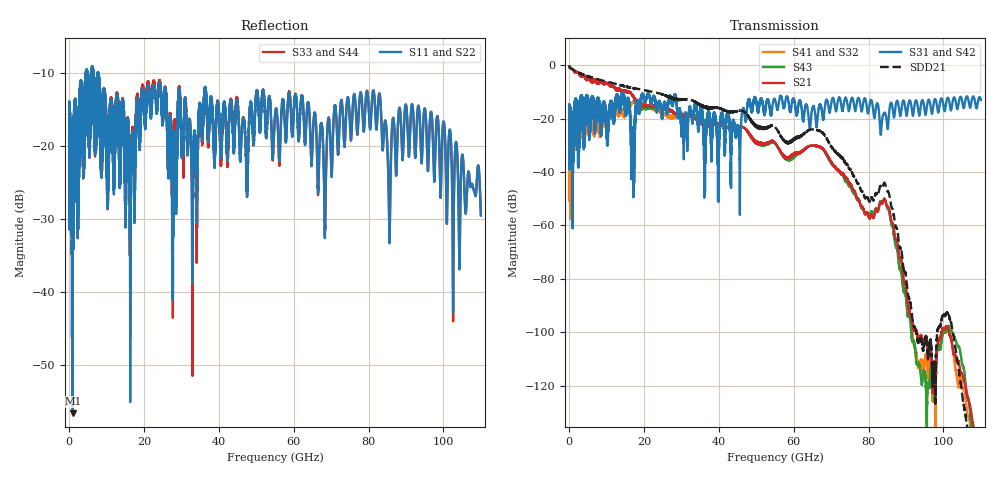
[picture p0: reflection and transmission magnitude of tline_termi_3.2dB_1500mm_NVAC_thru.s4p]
!4 port subset of full cascaded channels using these ports:3 1 4 2
# Hz S RI R 50
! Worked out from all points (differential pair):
!   11000 points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, 10 MHz to 110 GHz, reference 50 ohm
!   strongest paths, dB at 10 MHz, 27.51 GHz, 55.01 GHz, 82.51 GHz, 110 GHz:
!     S31: -21.6, -14.5, -12.8, -14.7, -13.0
!     S42: -21.6, -14.5, -12.8, -14.7, -13.0
!     S21: -0.4, -17.1, -28.9, -54.7, -
!     S43: -0.4, -17.2, -29.4, -54.2, -
!     S41: -34.5, -19.4, -29.2, -54.5, -
!     S32: -34.5, -19.4, -29.2, -54.5, -
!   taken as a pair (ports 1,3 in; 2,4 out), SDD21 dB: -0.2, -12.2, -23.2, -48.4, -
!   lowest |S11| = -56.6 dB at 990 MHz (marker M1), VSWR 1.00, Z = 50.1 + j0.0795 ohm
!   |S11| at or under -10 dB: start of sweep to 4.469 GHz; 6.495 GHz to 7.619 GHz (1.124 GHz wide, 15.9 % of centre); 7.861 GHz to end of sweep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
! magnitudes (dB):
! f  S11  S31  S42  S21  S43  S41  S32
! 10 MHz  -19.9  -21.6  -21.6  -0.4  -0.4  -34.5  -34.5
! 990 MHz  -56.6  -27.7  -27.7  -1.6  -1.6  -28.6  -28.6
! 17.81 GHz  -17.0  -15.2  -15.2  -13.7  -14.3  -13.2  -13.2
! 66.66 GHz  -24.3  -16.2  -16.2  -30.4  -30.6  -30.5  -30.5
! 84.39 GHz  -16.5  -17.8  -17.8  -50.3  -50.4  -50.4  -50.4
! 89.42 GHz  -17.7  -13.3  -13.3  -80.4  -84.7  -82.4  -82.4
! 110 GHz  -29.5  -13.0  -13.0  -  -  -  -
